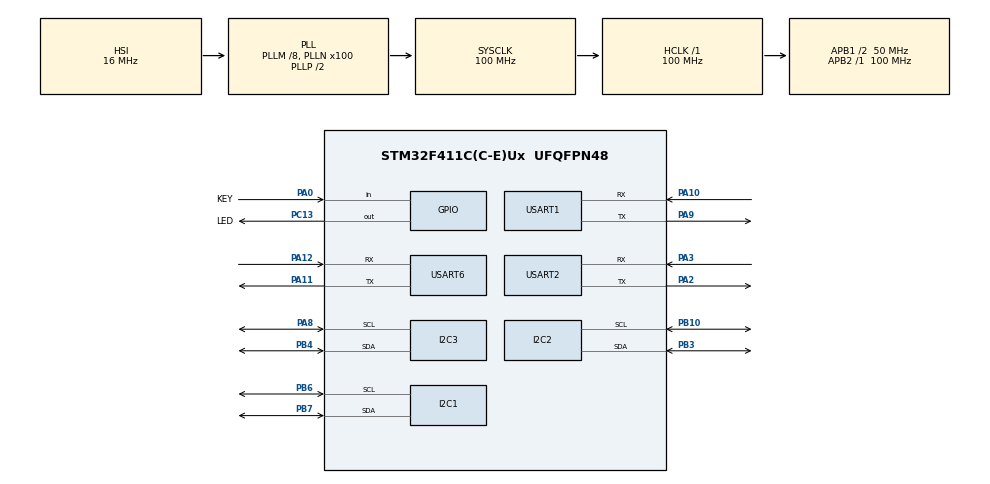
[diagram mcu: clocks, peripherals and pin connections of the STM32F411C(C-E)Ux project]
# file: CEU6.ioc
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Dma.Request0=USART2_RX
Dma.Request1=USART1_RX
Dma.Request2=USART6_RX
Dma.USART1_RX.1.Direction=DMA_PERIPH_TO_MEMORY
Dma.USART1_RX.1.FIFOMode=DMA_FIFOMODE_DISABLE
Dma.USART1_RX.1.Instance=DMA2_Stream2
Dma.USART1_RX.1.MemDataAlignment=DMA_MDATAALIGN_BYTE
Dma.USART1_RX.1.MemInc=DMA_MINC_ENABLE
Dma.USART1_RX.1.Mode=DMA_NORMAL
Dma.USART1_RX.1.PeriphDataAlignment=DMA_PDATAALIGN_BYTE
Dma.USART1_RX.1.PeriphInc=DMA_PINC_DISABLE
Dma.USART1_RX.1.Priority=DMA_PRIORITY_LOW
Dma.USART2_RX.0.Direction=DMA_PERIPH_TO_MEMORY
Dma.USART2_RX.0.FIFOMode=DMA_FIFOMODE_DISABLE
Dma.USART2_RX.0.Instance=DMA1_Stream5
Dma.USART2_RX.0.MemDataAlignment=DMA_MDATAALIGN_BYTE
Dma.USART2_RX.0.MemInc=DMA_MINC_ENABLE
Dma.USART2_RX.0.Mode=DMA_CIRCULAR
Dma.USART2_RX.0.PeriphDataAlignment=DMA_PDATAALIGN_BYTE
Dma.USART2_RX.0.PeriphInc=DMA_PINC_DISABLE
Dma.USART2_RX.0.Priority=DMA_PRIORITY_LOW
Dma.USART6_RX.2.Direction=DMA_PERIPH_TO_MEMORY
Dma.USART6_RX.2.FIFOMode=DMA_FIFOMODE_DISABLE
Dma.USART6_RX.2.Instance=DMA2_Stream1
Dma.USART6_RX.2.MemDataAlignment=DMA_MDATAALIGN_BYTE
Dma.USART6_RX.2.MemInc=DMA_MINC_ENABLE
Dma.USART6_RX.2.Mode=DMA_NORMAL
Dma.USART6_RX.2.PeriphDataAlignment=DMA_PDATAALIGN_BYTE
Dma.USART6_RX.2.PeriphInc=DMA_PINC_DISABLE
Dma.USART6_RX.2.Priority=DMA_PRIORITY_LOW
Mcu.Family=STM32F4
Mcu.Name=STM32F411C(C-E)Ux
Mcu.Package=UFQFPN48
NVIC.DMA1_Stream5_IRQn=true\:0\:0\:false\:false\:true\:false\:true
NVIC.DMA2_Stream1_IRQn=true\:0\:0\:false\:false\:true\:false\:true
NVIC.DMA2_Stream2_IRQn=true\:0\:0\:false\:false\:true\:false\:true
NVIC.PriorityGroup=NVIC_PRIORITYGROUP_4
NVIC.USART1_IRQn=true\:1\:0\:true\:false\:true\:true\:true
NVIC.USART2_IRQn=true\:1\:0\:true\:false\:true\:true\:true
NVIC.USART6_IRQn=true\:0\:0\:false\:false\:true\:true\:true
PA0-WKUP.GPIO_Label=KEY
PA0-WKUP.GPIO_PuPd=GPIO_PULLUP
PA0-WKUP.Signal=GPIO_Input
PA10.GPIO_PuPd=GPIO_PULLUP
PA10.Mode=Asynchronous
PA10.Signal=USART1_RX
PA11.Mode=Asynchronous
PA11.Signal=USART6_TX
PA12.GPIO_PuPd=GPIO_PULLUP
PA12.Mode=Asynchronous
PA12.Signal=USART6_RX
PA13.Mode=Serial_Wire
PA13.Signal=SYS_JTMS-SWDIO
PA14.Mode=Serial_Wire
PA14.Signal=SYS_JTCK-SWCLK
PA2.Mode=Asynchronous
PA2.Signal=USART2_TX
PA3.GPIO_PuPd=GPIO_PULLUP
PA3.Mode=Asynchronous
PA3.Signal=USART2_RX
PA8.Mode=I2C
PA8.Signal=I2C3_SCL
PA9.Mode=Asynchronous
PA9.Signal=USART1_TX
PB10.Mode=I2C
PB10.Signal=I2C2_SCL
PB3.Mode=I2C
PB3.Signal=I2C2_SDA
PB4.Mode=I2C
PB4.Signal=I2C3_SDA
PB6.Mode=I2C
PB6.Signal=I2C1_SCL
PB7.Mode=I2C
PB7.Signal=I2C1_SDA
PC13-ANTI_TAMP.GPIO_Label=LED
PC13-ANTI_TAMP.GPIO_PuPd=GPIO_PULLUP
PC13-ANTI_TAMP.PinState=GPIO_PIN_SET
PC13-ANTI_TAMP.Signal=GPIO_Output
PC14-OSC32_IN.Mode=LSE-External-Oscillator
PC14-OSC32_IN.Signal=RCC_OSC32_IN
PC15-OSC32_OUT.Mode=LSE-External-Oscillator
PC15-OSC32_OUT.Signal=RCC_OSC32_OUT
PH0\ -\ OSC_IN.Mode=HSE-External-Oscillator
PH0\ -\ OSC_IN.Signal=RCC_OSC_IN
PH1\ -\ OSC_OUT.Mode=HSE-External-Oscillator
PH1\ -\ OSC_OUT.Signal=RCC_OSC_OUT
ProjectManager.HeapSize=0x200
ProjectManager.StackSize=0x400
ProjectManager.TargetToolchain=MDK-ARM V5.32
RCC.48MHZClocksFreq_Value=50000000
RCC.AHBFreq_Value=100000000
RCC.APB1CLKDivider=RCC_HCLK_DIV2
RCC.APB1Freq_Value=50000000
RCC.APB1TimFreq_Value=100000000
RCC.APB2Freq_Value=100000000
RCC.APB2TimFreq_Value=100000000
RCC.CortexFreq_Value=100000000
RCC.HCLKFreq_Value=100000000
RCC.HSE_VALUE=25000000
RCC.HSI_VALUE=16000000
RCC.PLLM=8
RCC.PLLN=100
RCC.SYSCLKFreq_VALUE=100000000
RCC.SYSCLKSource=RCC_SYSCLKSOURCE_PLLCLK
RCC.VCOOutputFreq_Value=200000000
USART1.VirtualMode=VM_ASYNC
USART2.VirtualMode=VM_ASYNC
USART6.VirtualMode=VM_ASYNC
board=custom

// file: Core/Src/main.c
/* USER CODE BEGIN Header */
/**
  ******************************************************************************
  * @file           : main.c
  * @brief          : Main program body
  ******************************************************************************
  * @attention
  *
  * Copyright (c) 2022 STMicroelectronics.
  * All rights reserved.
  *
  * This software is licensed under terms that can be found in the LICENSE file
  * in the root directory of this software component.
  * If no LICENSE file comes with this software, it is provided AS-IS.
  *
  ******************************************************************************
  */
/* USER CODE END Header */
#include "main.h"
#include "dma.h"
#include "i2c.h"
#include "usart.h"
#include "gpio.h"

/* USER CODE BEGIN Includes */
#include "sys.h"
#include "sht30.h"
#include "bh1750_i2c_drv.h"
#include "jansson.h"
#include "oled.h"
/* USER CODE END Includes */

/* USER CODE BEGIN PV */
extern uint8_t tx6_buff[255];
extern uint8_t usart6_rx_flag;          //接收中断标志位
extern uint8_t rx6_buff[255];
//json解析与数据
json_error_t error;
json_t *root;
char *result;
/* USER CODE END PV */

void SystemClock_Config(void);

int main(void)
{
  /* USER CODE BEGIN 1 */
	uint16_t lux = 0;
	uint8_t luxdata[2] = {0}; //dat[0]是高字节，dat[1]是低字节
	uint8_t sht30_dat[6] = {0};
	float temp = 0,humi = 0;
	char data[128];
	char node[] ="node2";
  /* USER CODE END 1 */

  /* MCU Configuration--------------------------------------------------------*/

  /* Reset of all peripherals, Initializes the Flash interface and the Systick. */
  HAL_Init();

  /* Configure the system clock */
  SystemClock_Config();

  /* Initialize all configured peripherals */
  MX_GPIO_Init();
  MX_DMA_Init();
  MX_USART1_UART_Init();
  MX_USART2_UART_Init();
  MX_I2C1_Init();
  MX_I2C2_Init();
  MX_I2C3_Init();
  MX_USART6_UART_Init();
  /* USER CODE BEGIN 2 */
	delay_init(100);
	MU_USART_init();
	OLED_Init();
	sprintf(data,"    %s   ",node);
	OLED_ShowString(0,0,data,16);
	memset(data,0,sizeof(data));
	LED1;
	//sht30初始化
	SHT30_reset();
	if(SHT30_Init() == HAL_OK)printf("sht30 init ok.\n");
	else printf("sht30 init fail.\n");
	LED0;

  /* USER CODE END 2 */

  /* Infinite loop */
  /* USER CODE BEGIN WHILE */
  while (1)
  {
		delay_ms(5000);
		//读取光照强度传感器数据
		if (HAL_OK == BH1750_Send_Cmd(ONCE_L_MODE)) {
			if (HAL_OK == BH1750_Read_Dat(luxdata))
				lux = BH1750_Dat_To_Lux(luxdata);
			else
				printf("error \r\n");
		}
		printf("lux:%d\r\n",lux);//打印光照强度

		//读取温湿度数据
		if(SHT30_Read_Dat(sht30_dat) == HAL_OK)
		{
			if(SHT30_Dat_To_Float(sht30_dat, &temp, &humi)!=0)
				printf("crc check fail.\r\n");
			if(SHT30_Dat_To_Float(sht30_dat, &temp, &humi)==0)
				printf("temp = %.1f, humi = %.1f\r\n", temp, humi);
			else printf("crc check fail.\r\n");
		}else printf("read data from sht30 fail.\r\n");

		//打包JSON数据，通过ZigBee模块发送出去
		root = json_pack("{sisisi}","temp",(int)temp,"humi",(int)humi,"lux",lux);
		result = json_dumps(root,JSON_PRESERVE_ORDER);
		json_delete(root);
		sprintf(data,"%s,%s",node,result);
		printf("%s\r\n",data);
		u6_printf("%s\r\n",data);
		memset(data,0,sizeof(data));

		sprintf(data,"T:%d  H:%d  ",(int)temp,(int)humi);
		OLED_ShowString(0,2,data,16);
		memset(data,0,sizeof(data));

		sprintf(data,"L:%d  ",lux);
		OLED_ShowString(0,4,data,16);
		memset(data,0,sizeof(data));
    /* USER CODE END WHILE */

  }
}

void SystemClock_Config(void)
{
  RCC_OscInitTypeDef RCC_OscInitStruct = {0};
  RCC_ClkInitTypeDef RCC_ClkInitStruct = {0};

  /** Configure the main internal regulator output voltage
  */
  __HAL_RCC_PWR_CLK_ENABLE();
  __HAL_PWR_VOLTAGESCALING_CONFIG(PWR_REGULATOR_VOLTAGE_SCALE1);
  /** Initializes the RCC Oscillators according to the specified parameters
  * in the RCC_OscInitTypeDef structure.
  */
  RCC_OscInitStruct.OscillatorType = RCC_OSCILLATORTYPE_HSI;
  RCC_OscInitStruct.HSIState = RCC_HSI_ON;
  RCC_OscInitStruct.HSICalibrationValue = RCC_HSICALIBRATION_DEFAULT;
  RCC_OscInitStruct.PLL.PLLState = RCC_PLL_ON;
  RCC_OscInitStruct.PLL.PLLSource = RCC_PLLSOURCE_HSI;
  RCC_OscInitStruct.PLL.PLLM = 8;
  RCC_OscInitStruct.PLL.PLLN = 100;
  RCC_OscInitStruct.PLL.PLLP = RCC_PLLP_DIV2;
  RCC_OscInitStruct.PLL.PLLQ = 4;
  if (HAL_RCC_OscConfig(&RCC_OscInitStruct) != HAL_OK)
  {
    Error_Handler();
  }
  /** Initializes the CPU, AHB and APB buses clocks
  */
  RCC_ClkInitStruct.ClockType = RCC_CLOCKTYPE_HCLK|RCC_CLOCKTYPE_SYSCLK
                              |RCC_CLOCKTYPE_PCLK1|RCC_CLOCKTYPE_PCLK2;
  RCC_ClkInitStruct.SYSCLKSource = RCC_SYSCLKSOURCE_PLLCLK;
  RCC_ClkInitStruct.AHBCLKDivider = RCC_SYSCLK_DIV1;
  RCC_ClkInitStruct.APB1CLKDivider = RCC_HCLK_DIV2;
  RCC_ClkInitStruct.APB2CLKDivider = RCC_HCLK_DIV1;

  if (HAL_RCC_ClockConfig(&RCC_ClkInitStruct, FLASH_LATENCY_3) != HAL_OK)
  {
    Error_Handler();
  }
}

void Error_Handler(void)
{
  __disable_irq();
  while (1)
  {
  }
}
